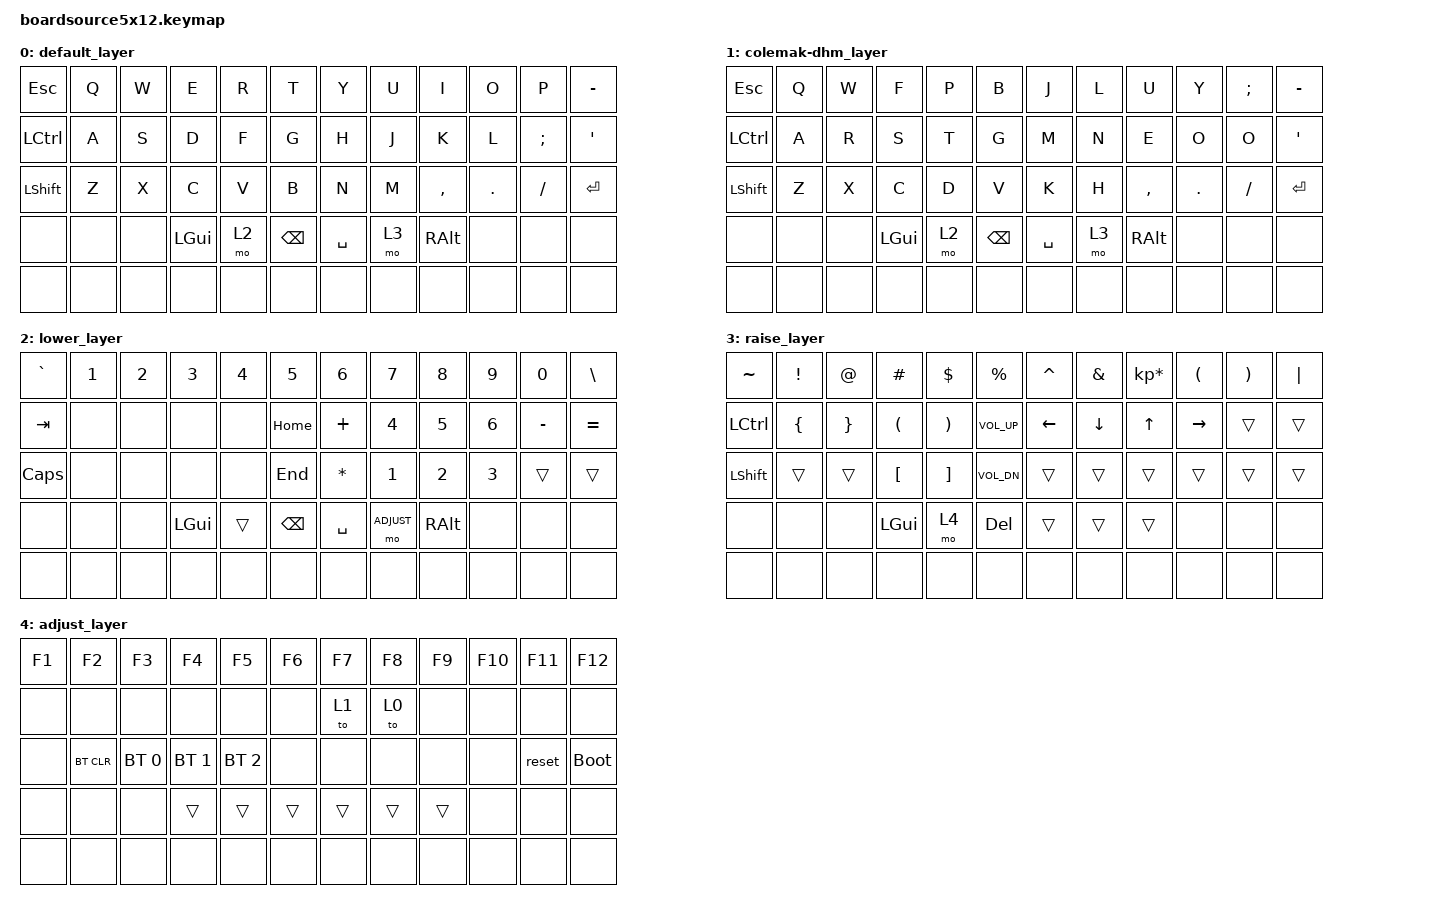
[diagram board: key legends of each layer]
/*
 * Copyright (c) 2021 The ZMK Contributors
 *
 * SPDX-License-Identifier: MIT
 */
 
#include <behaviors.dtsi>
#include <dt-bindings/zmk/keys.h>
#include <dt-bindings/zmk/bt.h>
#include <dt-bindings/zmk/outputs.h>


#define DEFAULT 0
#define COLEMAK 1
#define LOWER   2
#define RAISE   3
#define ADJUST  4


/ {
        keymap {
                compatible = "zmk,keymap";

                default_layer {
// -----------------------------------------------------------------------------------------
// |  ESC |  Q  |  W  |  E  |  R  |  T  |   |  Y  |  U   |  I  |  O  |  P  |  -   |
// | CTRL |  A  |  S  |  D  |  F  |  G  |   |  H  |  J   |  K  |  L  |  ;  |  '   |
// | SHFT |  Z  |  X  |  C  |  V  |  B  |   |  N  |  M   |  ,  |  .  |  /  | ENTR |
// |      |CLCK | GUI | ALT | LWR | BKSP|   | SPC | RSE  |LEFT | DOWN| UP  |RIGHT |
                        bindings = <
   &kp ESC   &kp Q    &kp W    &kp E    &kp R    &kp T          &kp Y     &kp U     &kp I     &kp O    &kp P    &kp MINUS
   &kp LCTRL &kp A    &kp S    &kp D    &kp F    &kp G          &kp H     &kp J     &kp K     &kp L    &kp SEMI &kp SQT
   &kp LSHFT &kp Z    &kp X    &kp C    &kp V    &kp B          &kp N     &kp M     &kp COMMA &kp DOT  &kp FSLH &kp RET
   &none     &none    &none    &kp LGUI &mo 2    &kp BSPC       &kp SPACE &mo 3     &kp RALT  &none    &none    &none    
   &none     &none    &none    &none    &none    &none          &none     &none     &none     &none    &none    &none
                        >;
                };

                 colemak-dhm_layer {
// -----------------------------------------------------------------------------------------
// | ESC  |   Q  |   W  |   F  |   P  |   B  |  |   J  |   L  |   U  |   Y  |   ;  |  -   |
// | CTRL |   A  |   R  |   S  |   T  |   G  |  |   M  |   N  |   E  |   I  |   O  |  "   |
// | SHFT |   Z  |   X  |   C  |   D  |   V  |  |   K  |   H  |   ,  |   .  |   /  | ENTER|
// |      |CLCK | GUI | ALT | LWR | BKSP|   | SPC | RSE  |LEFT | DOWN| UP  |RIGHT |
                        bindings = <
   &kp ESC   &kp Q &kp W     &kp F     &kp P     &kp B        &kp J     &kp L     &kp U     &kp Y   &kp SEMI  &kp MINUS
   &kp LCTRL &kp A &kp R     &kp S     &kp T     &kp G        &kp M     &kp N     &kp E     &kp O   &kp O     &kp SQT
   &kp LSHFT &kp Z &kp X     &kp C     &kp D     &kp V        &kp K     &kp H     &kp COMMA &kp DOT &kp FSLH  &kp RET
   &none     &none    &none    &kp LGUI &mo 2    &kp BSPC       &kp SPACE &mo 3     &kp RALT  &none    &none    &none    
   &none     &none    &none    &none    &none    &none          &none     &none     &none     &none    &none    &none
                        >;
                };

                lower_layer {
// -----------------------------------------------------------------------------------------
// |  `   |  1  |  2  |  3  |  4  |  5  |   |  6  |  7  |  8  |  9  |  0  |  \   |
// | a+esc|     |     |     |     | HOME|   |  +  |  4  |  5  |  6  |  -  |  =   |
// | CPLK |     |     |     |     | END |   |  *  |  1  |  2  |  3  |  /  |      |
//                    |c+a+d| LWR | BKSP|   | SPC | ADJ | ALT |
                        bindings = <
   &kp GRAVE  &kp N1       &kp N2       &kp N3       &kp N4       &kp N5         &kp N6    &kp N7     &kp N8   &kp N9 &kp N0   &kp BSLH
   &kp TAB    &none        &none        &none        &none        &kp HOME       &kp PLUS  &kp N4     &kp N5   &kp N6 &kp MINUS &kp EQUAL
   &kp CLCK   &none        &none        &none        &none        &kp END        &kp STAR  &kp N1     &kp N2   &kp N3 &trans   &trans 
   &none      &none        &none        &kp LGUI     &trans       &kp BSPC       &kp SPACE &mo ADJUST &kp RALT &none  &none     &none
   &none      &none        &none        &none        &none        &none          &none     &none      &none     &none &none    &none 
                        >;
                };

                raise_layer {
// -----------------------------------------------------------------------------------------
// |   ~  |  !  |  @  |  #  |  $  |  %  |   |  ^  |  &  |  *  |  (  |  )  |  |  |
// | CTRL |  {  |  }  |  (  |  )  |vol +|   |LEFT |DOWN | UP  |RIGHT|     |     |
// | SHFT |     |     |  [  |  ]  |vol -|   |     |     |     |     |     |     |
//                    | GUI | ADJ | DEL |   | SPC | RSE | ALT |
                        bindings = <
   &kp TILDE &kp EXCL &kp AT &kp HASH &kp DLLR   &kp PRCNT       &kp CARET &kp AMPS  &kp KP_MULTIPLY &kp LPAR &kp RPAR &kp PIPE
   &kp LCTRL &kp LBRC &kp RBRC &kp LPAR &kp RPAR &kp C_VOL_UP    &kp LEFT  &kp DOWN  &kp UP          &kp RIGHT &trans &trans
   &kp LSHFT &trans   &trans &kp LBKT &kp RBKT   &kp C_VOL_DN    &trans &trans &trans &trans &trans &trans 
   &none     &none    &none  &kp LGUI &mo 4      &kp DEL         &trans &trans &trans &none  &none  &none 
   &none  &none       &none  &none    &none      &none           &none     &none     &none     &none    &none    &none 
                        >;
                };

                adjust_layer {
// -----------------------------------------------------------------------------------------
// -----------------------------------------------------------------------------------------
// |  F1  |  F2  |  F3  |  F4  |  F5  |  F6  |  |  F7  |  F8  |  F9  | F10  | F11  | F12  |
// |      |      |      |      |      |      |  |colmak|qwerty|      |      |      |      |
// |      | BTCLR|  BT1 | BT2  |  BT3 |      |  |      |      |      |      |reset |btload|
//                      | trans| trans| trans|  |trans |trans |trans |
                        bindings = <
   &kp F1    &kp F2     &kp F3       &kp F4       &kp F5       &kp F6        &kp F7      &kp F8      &kp F9    &kp F10   &kp F11   &kp F12    
   &none     &none      &none        &none        &none        &none         &to 1       &to 0       &none     &none     &none     &none     
   &none     &bt BT_CLR &bt BT_SEL 0 &bt BT_SEL 1 &bt BT_SEL 2 &none         &none       &none       &none     &none     &reset    &bootloader     
   &none     &none      &none        &trans       &trans       &trans        &trans      &trans      &trans    &none     &none  &none
   &none  &none       &none  &none    &none      &none           &none     &none     &none     &none    &none    &none 
                        >;
                };

        };
};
